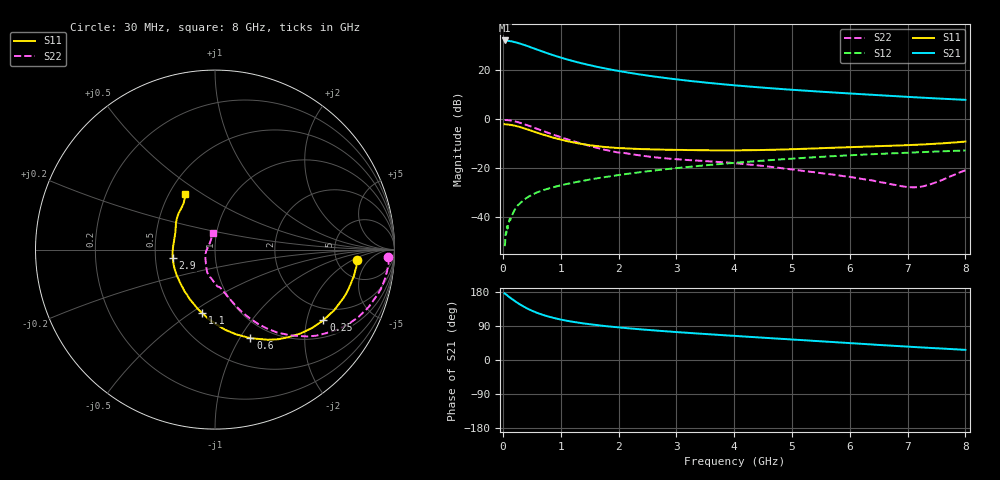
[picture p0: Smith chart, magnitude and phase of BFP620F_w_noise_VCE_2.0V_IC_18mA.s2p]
! Infineon Technologies  Discrete & RF Semiconductors
! BFP620F
! VCE =  2.0 V,  IC =  18 mA
! Common Emitter S-Parameters:  Dec 2014
# GHz  S  MA  R  50
!  f  S11  S21  S12  S22
! GHz  MAG  ANG  MAG  ANG  MAG  ANG  MAG  ANG
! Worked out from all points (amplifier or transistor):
!   95 points, 30 MHz to 8 GHz, reference 50 ohm
!   highest |S21| = 32.2 dB at 30 MHz (marker M1)
!   |S21| within 3 dB of that: start of sweep to 508.4 MHz
!   unconditionally stable (mu >= 1): 3.066 GHz to end of sweep
!   at 300 MHz: K = 0.28, MSG = 32.5 dB, |S12| = -34.2 dB
!   at 3.3 GHz: K = 1.01, MAG = 16.8 dB, |S12| = -19.2 dB
!   at 8 GHz: K = 1.07, MAG = 8.7 dB, |S12| = -12.7 dB
!   lowest NFmin = 0.78 dB at 450 MHz
!   S11 on the Smith chart (normalised r, x): 30 MHz: 7.96, -2.38; 250 MHz: 1.54, -2.52; 600 MHz: 0.81, -1.11; 1.1 GHz: 0.68, -0.56; 2.9 GHz: 0.62, -0.06; 8 GHz: 0.60, +0.43
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0.03  0.7933 -4.0  40.59 175.9  0.0026 82.4  0.9666 -2.6
0.08  0.7871 -11.0  40.19 169.9  0.0059 75.7  0.9634 -8.2
0.13  0.7722 -17.9  39.28 164.0  0.0089 76.8  0.9493 -13.5
0.2  0.7448 -27.0  37.65 156.4  0.0141 74.3  0.9135 -20.6
0.25  0.7206 -33.1  36.36 151.1  0.0172 73.5  0.8829 -25.2
0.3  0.6953 -38.9  34.91 146.3  0.0196 71.7  0.8488 -29.5
0.4  0.6375 -49.9  31.94 137.6  0.0246 68.3  0.7743 -37.0
0.5  0.5831 -59.5  28.97 130.3  0.029 65.1  0.7041 -43.4
0.6  0.5316 -68.2  26.24 124.0  0.0328 63.4  0.6363 -48.7
0.7  0.4871 -75.9  23.84 118.6  0.0362 62.0  0.5761 -53.2
0.8  0.4494 -83.0  21.67 114.2  0.0391 61.1  0.5225 -56.9
0.9  0.4147 -89.4  19.83 110.2  0.0422 60.5  0.4752 -60.1
1.1  0.3619 -101.1  16.8 103.8  0.048 59.7  0.3964 -65.4
1.4  0.3108 -116.7  13.58 96.5  0.0563 59.0  0.3109 -71.4
1.7  0.2779 -130.3  11.32 90.8  0.0647 58.7  0.2499 -77.0
2  0.2601 -142.2  9.703 86.1  0.0731 58.3  0.2104 -83.0
2.7  0.2426 -164.0  7.253 77.1  0.093 56.0  0.1653 -96.1
2.9  0.2401 -169.1  6.763 74.9  0.0986 55.3  0.1575 -99.2
4.1  0.2338 166.5  4.839 62.7  0.1326 50.0  0.1251 -111.3
5.4  0.2556 148.6  3.731 50.3  0.1692 42.5  0.0834 -128.7
6.7  0.2894 133.2  3.013 38.0  0.2019 33.9  0.048 -173.7
8  0.3526 118.3  2.498 26.7  0.2328 25.6  0.0918 98.4
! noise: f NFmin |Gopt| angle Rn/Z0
0.45  0.78  0.08  6  0.21
0.9  0.84  0.08  15  0.18
1.5  0.89  0.08  16  0.14
1.8  0.91  0.07  17  0.13
1.9  0.92  0.04  34  0.15
2.4  0.96  0.03  60  0.14
3.5  1.04  0.03  133  0.14
5.5  1.18  0.13  224  0.09
6  1.21  0.13  245  0.13
